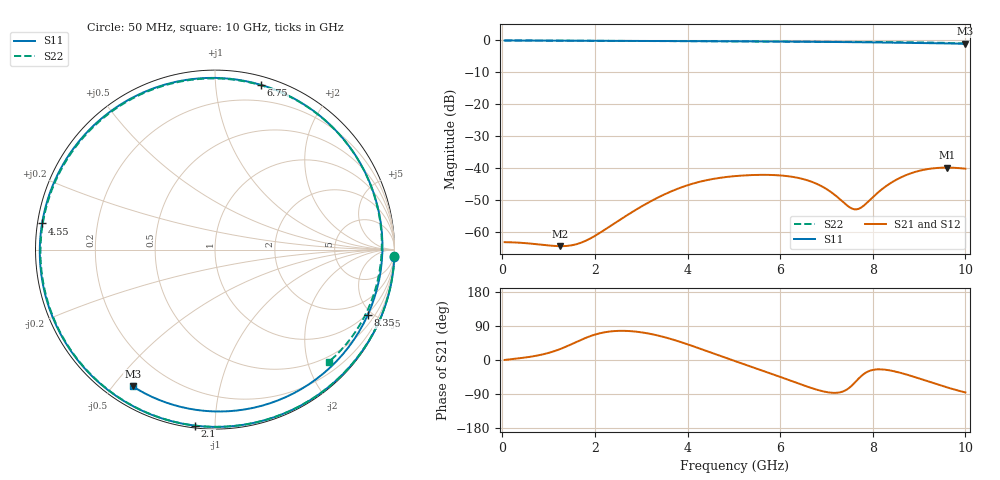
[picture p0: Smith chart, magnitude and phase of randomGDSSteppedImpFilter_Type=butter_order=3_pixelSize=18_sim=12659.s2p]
! freq	dB(S11)	phase(S11)	dB(S12)	phase(S12)
!  dB(S21)	phase(S21)	dB(S22)	phase(S22)
!S-par simulation data
#  GHz  S  DB  R 50
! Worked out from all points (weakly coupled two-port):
!   200 points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, 50 MHz to 10 GHz, reference 50 ohm
!   highest |S21| = -39.88 dB at 9.6 GHz (marker M1); lowest = -64.5 dB at 1.25 GHz (marker M2)
!   lowest |S11| = -1.0 dB at 10 GHz (marker M3), VSWR 17.04, Z = 3.87 - j28.1 ohm
!   |S11| at or under -10 dB: nowhere
!   |S22| runs from -1.0 to 0.0 dB; largest |S21 - S12| = 0
!   S11 on the Smith chart (normalised r, x): 50 MHz: 0, -46; 2.1 GHz: 0.01, -0.89; 4.55 GHz: 0.01, +0.08; 6.75 GHz: 0.07, +1.31; 8.35 GHz: 0.91, -4.68; 10 GHz: 0.08, -0.56
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0.05  -0.00 -2.5  -63.27 0.2  -63.27 0.2  -0.00 -2.0
0.6  -0.03 -29.5  -63.70 8.4  -63.70 8.4  -0.02 -23.9
1.25  -0.07 -60.0  -64.52 28.9  -64.52 28.9  -0.06 -49.2
1.75  -0.10 -82.0  -63.15 55.8  -63.15 55.8  -0.08 -68.0
2.1  -0.11 -96.6  -60.41 70.3  -60.41 70.3  -0.10 -80.9
2.75  -0.14 -122.3  -54.31 76.3  -54.31 76.3  -0.13 -104.1
3.4  -0.16 -146.5  -48.99 63.4  -48.99 63.4  -0.16 -126.7
4  -0.19 -168.4  -45.41 41.5  -45.41 41.5  -0.19 -147.2
4.55  -0.22 171.4  -43.44 17.7  -43.44 17.7  -0.22 -166.1
5.05  -0.26 152.3  -42.52 -3.9  -42.52 -3.9  -0.25 176.4
5.5  -0.29 134.0  -42.17 -23.0  -42.17 -23.0  -0.28 160.2
6  -0.34 112.0  -42.33 -44.6  -42.33 -44.6  -0.32 141.5
6.7  -0.41 77.1  -44.42 -74.9  -44.42 -74.9  -0.37 113.6
6.75  -0.42 74.4  -44.72 -76.8  -44.72 -76.8  -0.37 111.6
7.2  -0.48 49.0  -48.68 -86.7  -48.68 -86.7  -0.41 92.5
7.65  -0.55 21.5  -52.98 -54.7  -52.98 -54.7  -0.44 72.6
8  -0.61 -0.7  -49.18 -26.2  -49.18 -26.2  -0.47 56.6
8.35  -0.67 -23.3  -45.06 -27.1  -45.06 -27.1  -0.50 40.2
8.7  -0.74 -45.6  -42.35 -37.3  -42.35 -37.3  -0.55 23.5
9  -0.80 -64.3  -40.90 -48.7  -40.90 -48.7  -0.60 8.8
9.6  -0.93 -99.4  -39.88 -72.1  -39.88 -72.1  -0.78 -22.0
10  -1.02 -121.1  -40.21 -85.7  -40.21 -85.7  -1.01 -44.7
